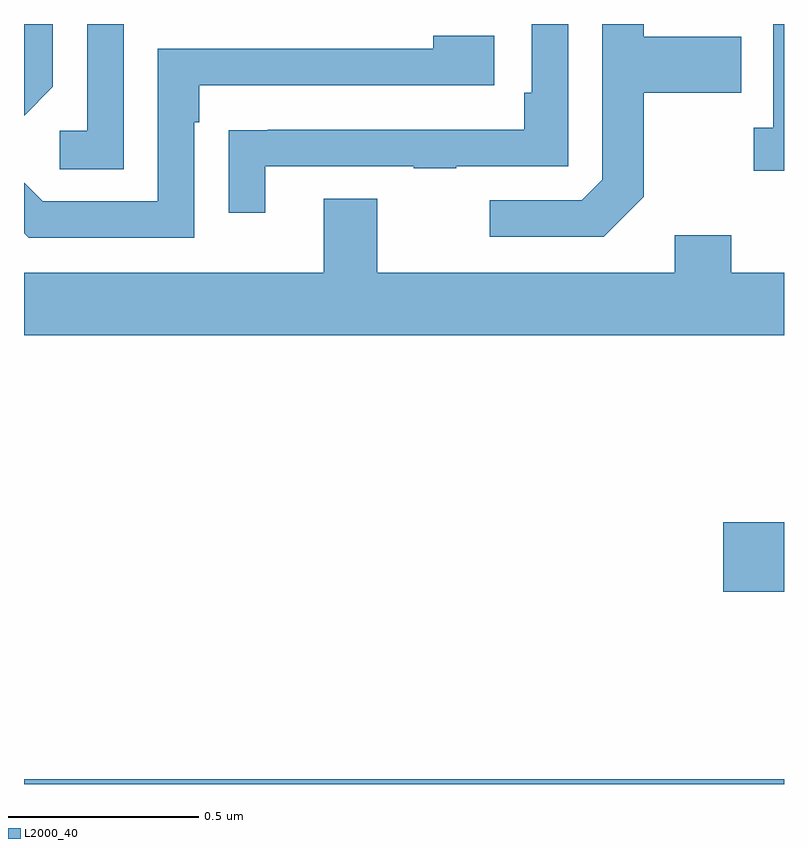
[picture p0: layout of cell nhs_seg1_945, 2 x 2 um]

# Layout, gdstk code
import gdstk
lib = gdstk.Library(unit=1e-6, precision=1e-09)
def R(c, l, rs):  # rectangles x0, y0, x1, y1
    for r in rs: c.add(gdstk.rectangle(r[:2], r[2:], *l))
def P(c, l, *ps):  # polygons
    for p in ps: c.add(gdstk.Polygon(p, *l))
L2000_40 = (2000, 40)

nhs_seg1_945 = lib.new_cell('nhs_seg1_945')
R(nhs_seg1_945, L2000_40, [(122,569.199,124,569.212), (123.84,569.705,124,569.888)])
P(nhs_seg1_945, L2000_40, [(123.631,570.745),(123.631,571.018),(123.887,571.018),(123.887,571.165),(123.631,571.165),(123.631,571.199),(123.522,571.199),(123.522,570.789),(123.468,570.735),(123.225,570.735),(123.225,570.639),(123.525,570.639)],
  [(124,571.199),(123.972,571.199),(123.972,570.926),(123.921,570.926),(123.921,570.813),(124,570.813)],
  [(122.076,571.034),(122.076,571.199),(122,571.199),(122,570.958)],
  [(122.262,571.199),(122.166,571.199),(122.166,570.918),(122.094,570.918),(122.094,570.817),(122.262,570.817)],
  [(122.635,570.825),(123.025,570.825),(123.025,570.82),(123.137,570.82),(123.137,570.825),(123.432,570.825),(123.432,571.199),(123.336,571.199),(123.336,571.018),(123.316,571.018),(123.316,570.921),(122.641,570.921),(122.641,570.92),(122.539,570.92),(122.539,570.702),(122.635,570.702)],
  [(122.448,570.941),(122.461,570.941),(122.461,571.038),(123.238,571.038),(123.238,571.168),(123.077,571.168),(123.077,571.134),(122.352,571.134),(122.352,570.732),(122.049,570.732),(122,570.781),(122,570.649),(122.013,570.636),(122.448,570.636)],
  [(124,570.544),(123.861,570.544),(123.861,570.643),(123.713,570.643),(123.713,570.544),(122.929,570.544),(122.929,570.739),(122.789,570.739),(122.789,570.544),(122,570.544),(122,570.38),(124,570.38)])

lib.write_gds('nhs_seg1_945.gds')
